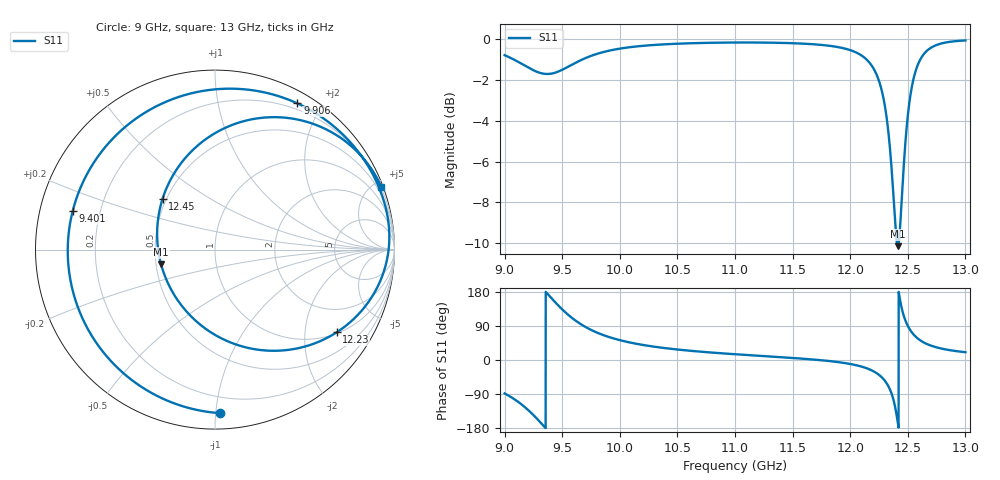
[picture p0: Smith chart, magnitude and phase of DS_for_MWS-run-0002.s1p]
! TOUCHSTONE file generated by CST DESIGN STUDIO
! Date and time: Wed Feb  5 13:32:08 2025
! Project name: C:\Work\MatlabApps\UnitCellOptimizationMatlab\CST\unitcell.cst
! Tree item: Tasks\Sweep1\SPara1\S-Parameters
! Header version: 2024
! Port assignment regex: !\s*Touchstone port\s*([0-9]+)\s*=\s*(CST MWS port|CST DES external port|CST DES block port)\s*(.+)\s* \(\"(.*)\"\)(\s*mode\s*([0-9]+))?.*
! Touchstone port assignment:
! Touchstone port 1 = CST DES external port 1 ("")
# GHz S MA R 50
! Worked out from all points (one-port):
!   4001 points, 9 GHz to 13 GHz, reference 50 ohm
!   lowest |S11| = -10.1 dB at 12.41 GHz (marker M1), VSWR 1.90, Z = 26.6 - j4.85 ohm
!   |S11| at or under -10 dB: 12.40592 GHz to 12.42055 GHz (14.63 MHz wide, 0.118 % of centre)
!   S11 on the Smith chart (normalised r, x): 9 GHz: 0.10, -1.03; 9.401 GHz: 0.10, +0.13; 9.906 GHz: 0.13, +1.70; 12.23 GHz: 1.04, -2.92; 12.45 GHz: 0.48, +0.32; 13 GHz: 0.15, +5.50
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9  0.9116 -88.3
9.105  0.8822 -107.6
9.195  0.8537 -129.4
9.306  0.8255 -163.1
9.401  0.8214 165.0
9.5  0.8397 133.6
9.577  0.862 112.9
9.662  0.8866 94.5
9.906  0.9351 60.6
10  0.946 52.4
10.215  0.9619 39.0
10.5  0.9726 27.7
11  0.9791 15.2
11.5  0.9753 5.4
12  0.9381 -10.5
12.135  0.8937 -20.9
12.227  0.8199 -34.2
12.286  0.7218 -49.4
12.34  0.5601 -74.4
12.376  0.4103 -105.3
12.413  0.3112 -164.7
12.448  0.4072 135.8
12.5  0.6481 90.1
12.535  0.7626 73.0
12.58  0.8536 58.4
12.669  0.9365 41.8
12.798  0.9749 29.8
13  0.9905 20.6
